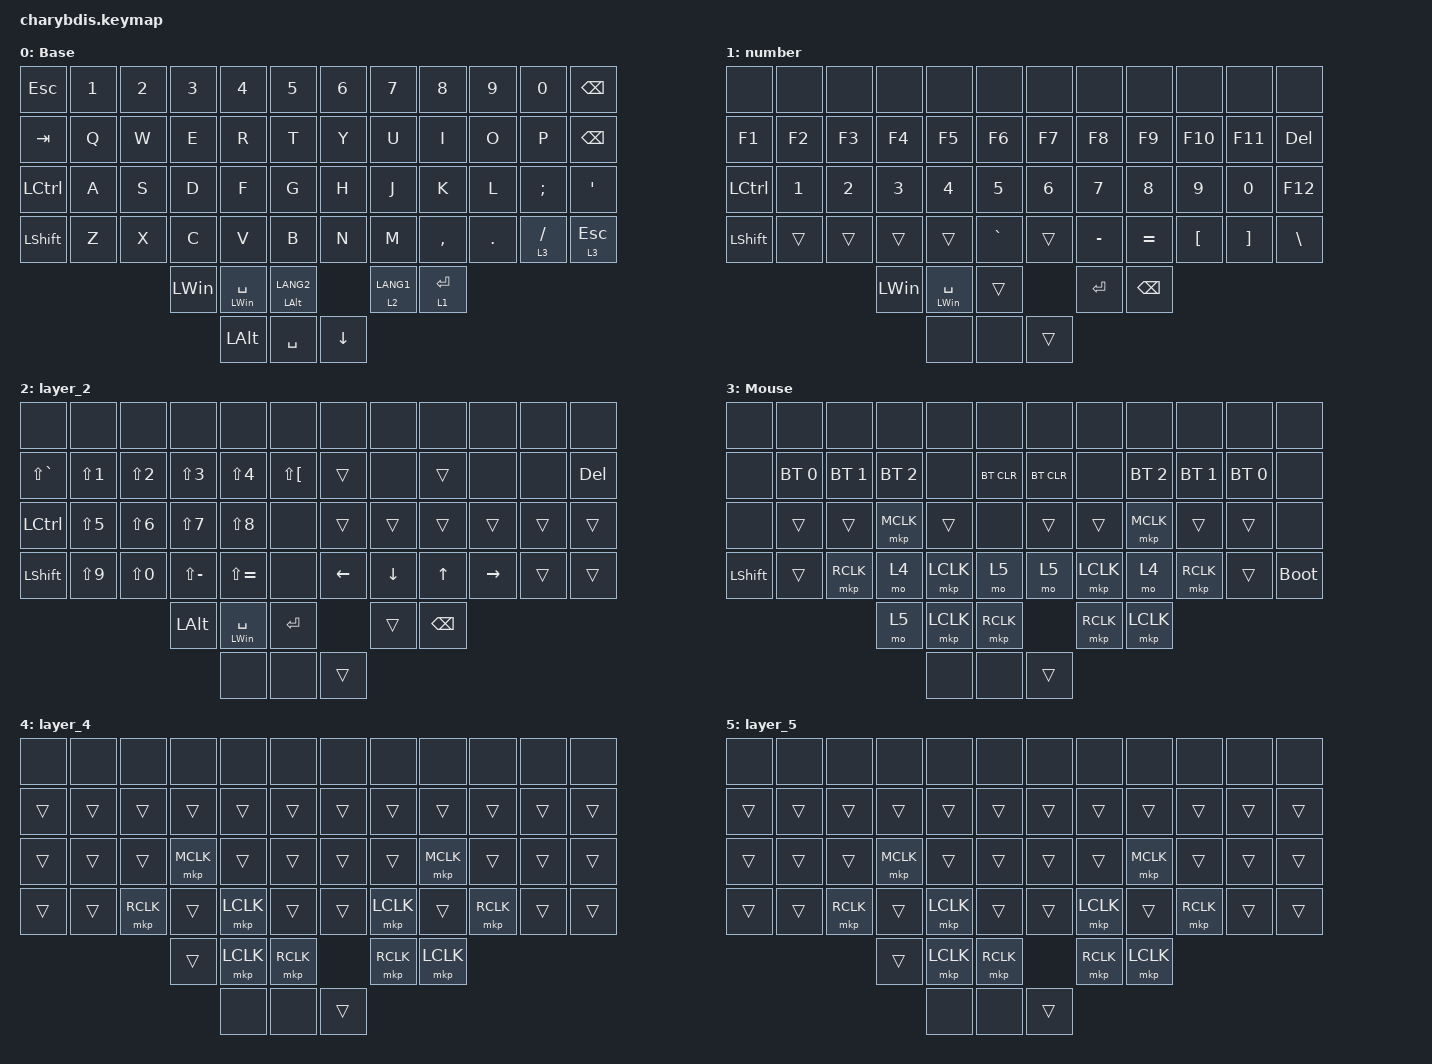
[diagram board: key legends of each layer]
#include <behaviors.dtsi>
#include <dt-bindings/zmk/bt.h>
#include <dt-bindings/zmk/keys.h>
#include <dt-bindings/zmk/mouse.h>


&lt {
    tapping-term-ms = <200>;
    flavor = "balanced";
    quick-tap-ms = <150>;
};

/ {
    combos {
        compatible = "zmk,combos";

        escc {
            bindings = <&kp ESC>;
            key-positions = <17 18>;
            layers = <0>;
        };
    };

    keymap {
        compatible = "zmk,keymap";

        Base {
            bindings = <
&kp ESC         &kp N1   &kp N2  &kp N3          &kp N4        &kp N5            &kp N6          &kp N7           &kp N8     &kp N9   &kp N0       &kp BSPC
&kp TAB         &kp Q    &kp W   &kp E           &kp R         &kp T             &kp Y           &kp U            &kp I      &kp O    &kp P        &kp BSPC
&kp LCTRL       &kp A    &kp S   &kp D           &kp F         &kp G             &kp H           &kp J            &kp K      &kp L    &kp SEMI     &kp APOS
&kp LEFT_SHIFT  &kp Z    &kp X   &kp C           &kp V         &kp B             &kp N           &kp M            &kp COMMA  &kp DOT  &lt 3 SLASH  &lt 3 ESC
                               &kp LEFT_WIN   &mt LEFT_WIN SPACE   &mt LEFT_ALT LANG2     &lt 2 LANG1    &lt 1 ENTER
                                                 &kp LEFT_ALT  &kp SPACE         &kp DOWN_ARROW
            >;

            trackball-bindings = <&tmv_coarse>;
        };

        number {
            bindings = <
&none             &none            &none         &none         &none         &none         &none         &none         &none         &none         &none         &none
&kp F1            &kp F2           &kp F3        &kp F4        &kp F5        &kp F6        &kp F7        &kp F8        &kp F9        &kp F10       &kp F11       &kp DEL
&kp LEFT_CONTROL  &kp NUMBER_1     &kp NUMBER_2  &kp NUMBER_3  &kp NUMBER_4  &kp NUMBER_5  &kp NUMBER_6  &kp NUMBER_7  &kp NUMBER_8  &kp NUMBER_9  &kp NUMBER_0  &kp F12
&kp LSHFT         &trans           &trans        &trans        &trans        &kp GRAVE     &trans        &kp MINUS     &kp EQUAL     &kp LBKT      &kp RBKT      &kp BSLH
                                                 &kp LEFT_WIN  &mt LEFT_WIN SPACE         &trans         &kp ENTER  &kp BACKSPACE
                                                               &none         &none         &trans
            >;
        };

        layer_2 {
            bindings = <
&none             &none       &none       &none          &none          &none           &none           &none           &none         &none            &none    &none
&kp LS(GRAVE)     &kp LS(N1)  &kp LS(N2)  &kp LS(N3)     &kp LS(N4)     &kp LS(LBKT)    &trans          &none           &trans        &none            &none    &kp DEL
&kp LEFT_CONTROL  &kp LS(N5)  &kp LS(N6)  &kp LS(N7)     &kp LS(N8)     &none           &trans          &trans          &trans        &trans           &trans   &trans
&kp LEFT_SHIFT    &kp LS(N9)  &kp LS(N0)  &kp LS(MINUS)  &kp LS(EQUAL)  &none           &kp LEFT        &kp DOWN        &kp UP        &kp RIGHT        &trans   &trans
                                          &kp LEFT_ALT   &mt LEFT_WIN SPACE      &kp ENTER       &trans          &kp BACKSPACE
                                                               &none         &none          &trans
            >;
        };

        Mouse {
            bindings = <
&none           &none         &none         &none         &none      &none         &none           &none           &none         &none            &none         &none
&none           &bt BT_SEL 0  &bt BT_SEL 1  &bt BT_SEL 2  &none      &bt BT_CLR    &bt BT_CLR      &none           &bt BT_SEL 2  &bt BT_SEL 1     &bt BT_SEL 0  &none
&none           &trans        &trans        &mkp MCLK     &trans     &none         &trans          &trans          &mkp MCLK     &trans           &trans        &none
&kp LEFT_SHIFT  &trans        &mkp RCLK     &mo 4         &mkp LCLK  &mo 5         &mo 5           &mkp LCLK       &mo 4         &mkp RCLK        &trans        &bootloader
                                         &mo 5         &mkp LCLK  &mkp RCLK     &mkp RCLK       &mkp LCLK
                                                               &none         &none              &trans
            >;
        };

        layer_4 {
            bindings = <
&none        &none         &none         &none         &none      &none         &none       &none      &none         &none         &none         &none
&trans  &trans  &trans     &trans     &trans     &trans       &trans     &trans     &trans     &trans     &trans  &trans
&trans  &trans  &trans     &mkp MCLK  &trans     &trans       &trans     &trans     &mkp MCLK  &trans     &trans  &trans
&trans  &trans  &mkp RCLK  &trans     &mkp LCLK  &trans       &trans     &mkp LCLK  &trans     &mkp RCLK  &trans  &trans
                           &trans     &mkp LCLK  &mkp RCLK    &mkp RCLK  &mkp LCLK
                                                               &none         &none          &trans
            >;

            trackball-bindings = <&tsl>; // scroll
        };

        layer_5 {
            bindings = <
&none        &none         &none         &none         &none      &none         &none       &none      &none         &none         &none         &none
&trans  &trans  &trans     &trans     &trans     &trans       &trans     &trans     &trans     &trans     &trans  &trans
&trans  &trans  &trans     &mkp MCLK  &trans     &trans       &trans     &trans     &mkp MCLK  &trans     &trans  &trans
&trans  &trans  &mkp RCLK  &trans     &mkp LCLK  &trans       &trans     &mkp LCLK  &trans     &mkp RCLK  &trans  &trans
                           &trans     &mkp LCLK  &mkp RCLK    &mkp RCLK  &mkp LCLK
                                                               &none         &none          &trans
            >;

            trackball-bindings = <&tmv_fine>; // precision
        };
    };
};
